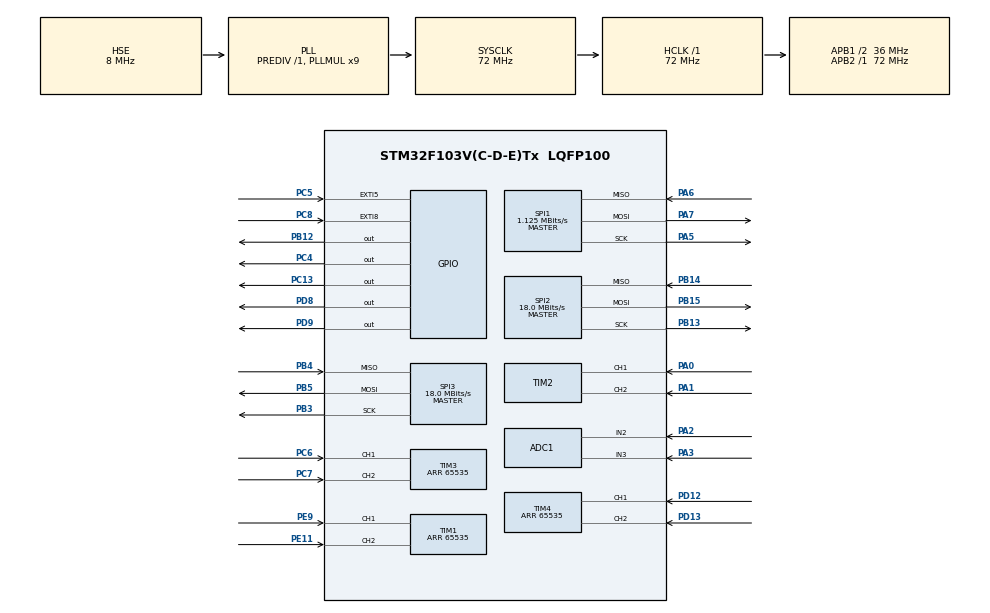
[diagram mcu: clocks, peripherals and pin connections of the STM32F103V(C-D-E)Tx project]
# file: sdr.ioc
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ADC1.Channel-0\#ChannelRegularConversion=ADC_CHANNEL_2
ADC1.NbrOfConversionFlag=1
ADC1.Rank-0\#ChannelRegularConversion=1
ADC1.SamplingTime-0\#ChannelRegularConversion=ADC_SAMPLETIME_1CYCLE_5
ADC1.master=1
Mcu.Family=STM32F1
Mcu.Name=STM32F103V(C-D-E)Tx
Mcu.Package=LQFP100
NVIC.EXTI9_5_IRQn=true\:0\:0\:false\:false\:true\:true
NVIC.PriorityGroup=NVIC_PRIORITYGROUP_4
NVIC.TIM4_IRQn=true\:0\:0\:false\:false\:true\:true
OSC_IN.Mode=HSE-External-Oscillator
OSC_IN.Signal=RCC_OSC_IN
OSC_OUT.Mode=HSE-External-Oscillator
OSC_OUT.Signal=RCC_OSC_OUT
PA0-WKUP.Signal=S_TIM2_CH1_ETR
PA1.Signal=S_TIM2_CH2
PA2.Signal=ADCx_IN2
PA3.Signal=ADCx_IN3
PA5.Mode=Full_Duplex_Master
PA5.Signal=SPI1_SCK
PA6.Mode=Full_Duplex_Master
PA6.Signal=SPI1_MISO
PA7.Mode=Full_Duplex_Master
PA7.Signal=SPI1_MOSI
PB12.Signal=GPIO_Output
PB13.Mode=Full_Duplex_Master
PB13.Signal=SPI2_SCK
PB14.Mode=Full_Duplex_Master
PB14.Signal=SPI2_MISO
PB15.Mode=Full_Duplex_Master
PB15.Signal=SPI2_MOSI
PB3.Mode=Full_Duplex_Master
PB3.Signal=SPI3_SCK
PB4.Mode=Full_Duplex_Master
PB4.Signal=SPI3_MISO
PB5.Mode=Full_Duplex_Master
PB5.Signal=SPI3_MOSI
PC13-TAMPER-RTC.Signal=GPIO_Output
PC4.GPIO_Speed=GPIO_SPEED_FREQ_MEDIUM
PC4.PinState=GPIO_PIN_RESET
PC4.Signal=GPIO_Output
PC5.GPIO_ModeDefaultEXTI=GPIO_MODE_IT_RISING_FALLING
PC5.GPIO_PuPd=GPIO_PULLDOWN
PC5.Signal=GPXTI5
PC6.GPIO_PuPd=GPIO_PULLUP
PC6.Signal=S_TIM3_CH1
PC7.GPIO_PuPd=GPIO_PULLUP
PC7.Signal=S_TIM3_CH2
PC8.GPIO_PuPd=GPIO_PULLDOWN
PC8.Signal=GPXTI8
PD12.GPIO_Mode=GPIO_MODE_INPUT
PD12.GPIO_PuPd=GPIO_PULLUP
PD12.Signal=S_TIM4_CH1
PD13.GPIO_Mode=GPIO_MODE_INPUT
PD13.GPIO_PuPd=GPIO_PULLUP
PD13.Signal=S_TIM4_CH2
PD8.Signal=GPIO_Output
PD9.Signal=GPIO_Output
PE11.GPIO_PuPd=GPIO_PULLUP
PE11.Signal=S_TIM1_CH2
PE9.GPIO_PuPd=GPIO_PULLUP
PE9.Signal=S_TIM1_CH1
ProjectManager.HeapSize=0x200
ProjectManager.StackSize=0x400
ProjectManager.TargetToolchain=SW4STM32
RCC.ADCPresc=RCC_ADCPCLK2_DIV6
RCC.AHBFreq_Value=72000000
RCC.APB1CLKDivider=RCC_HCLK_DIV2
RCC.APB1Freq_Value=36000000
RCC.APB1TimFreq_Value=72000000
RCC.APB2Freq_Value=72000000
RCC.APB2TimFreq_Value=72000000
RCC.EnbaleCSS=true
RCC.HCLKFreq_Value=72000000
RCC.PLLMUL=RCC_PLL_MUL9
RCC.PLLSourceVirtual=RCC_PLLSOURCE_HSE
RCC.SYSCLKFreq_VALUE=72000000
RCC.SYSCLKSource=RCC_SYSCLKSOURCE_PLLCLK
RCC.USBFreq_Value=48000000
RCC.USBPrescaler=RCC_USBCLKSOURCE_PLL_DIV1_5
SH.ADCx_IN2.0=ADC1_IN2,IN2
SH.ADCx_IN3.0=ADC1_IN3,IN3
SH.S_TIM1_CH1.0=TIM1_CH1,Encoder_Interface
SH.S_TIM1_CH2.0=TIM1_CH2,Encoder_Interface
SH.S_TIM2_CH1_ETR.0=TIM2_CH1,Encoder_Interface
SH.S_TIM2_CH2.0=TIM2_CH2,Encoder_Interface
SH.S_TIM3_CH1.0=TIM3_CH1,Encoder_Interface
SH.S_TIM3_CH2.0=TIM3_CH2,Encoder_Interface
SH.S_TIM4_CH1.0=TIM4_CH1,Encoder_Interface
SH.S_TIM4_CH2.0=TIM4_CH2,Encoder_Interface
SPI1.BaudRatePrescaler=SPI_BAUDRATEPRESCALER_64
SPI1.CalculateBaudRate=1.125 MBits/s
SPI1.Direction=SPI_DIRECTION_2LINES
SPI1.Mode=SPI_MODE_MASTER
SPI1.VirtualType=VM_MASTER
SPI2.BaudRatePrescaler=SPI_BAUDRATEPRESCALER_2
SPI2.CalculateBaudRate=18.0 MBits/s
SPI2.Direction=SPI_DIRECTION_2LINES
SPI2.Mode=SPI_MODE_MASTER
SPI2.VirtualType=VM_MASTER
SPI3.CalculateBaudRate=18.0 MBits/s
SPI3.Direction=SPI_DIRECTION_2LINES
SPI3.Mode=SPI_MODE_MASTER
SPI3.VirtualType=VM_MASTER
TIM1.EncoderMode=TIM_ENCODERMODE_TI2
TIM1.Period=65535
TIM3.EncoderMode=TIM_ENCODERMODE_TI2
TIM3.Period=65535
TIM4.EncoderMode=TIM_ENCODERMODE_TI12
TIM4.Period=65535
VP_SYS_VS_ND.Mode=No_Debug
board=custom

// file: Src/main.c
/**
  ******************************************************************************
  * @file           : main.c
  * @brief          : Main program body
  ******************************************************************************
  ** This notice applies to any and all portions of this file
  * that are not between comment pairs USER CODE BEGIN and
  * USER CODE END. Other portions of this file, whether
  * inserted by the user or by software development tools
  * are owned by their respective copyright owners.
  *
  * COPYRIGHT(c) 2019 STMicroelectronics
  *
  * Redistribution and use in source and binary forms, with or without modification,
  * are permitted provided that the following conditions are met:
  *   1. Redistributions of source code must retain the above copyright notice,
  *      this list of conditions and the following disclaimer.
  *   2. Redistributions in binary form must reproduce the above copyright notice,
  *      this list of conditions and the following disclaimer in the documentation
  *      and/or other materials provided with the distribution.
  *   3. Neither the name of STMicroelectronics nor the names of its contributors
  *      may be used to endorse or promote products derived from this software
  *      without specific prior written permission.
  *
  * THIS SOFTWARE IS PROVIDED BY THE COPYRIGHT HOLDERS AND CONTRIBUTORS "AS IS"
  * AND ANY EXPRESS OR IMPLIED WARRANTIES, INCLUDING, BUT NOT LIMITED TO, THE
  * IMPLIED WARRANTIES OF MERCHANTABILITY AND FITNESS FOR A PARTICULAR PURPOSE ARE
  * DISCLAIMED. IN NO EVENT SHALL THE COPYRIGHT HOLDER OR CONTRIBUTORS BE LIABLE
  * FOR ANY DIRECT, INDIRECT, INCIDENTAL, SPECIAL, EXEMPLARY, OR CONSEQUENTIAL
  * DAMAGES (INCLUDING, BUT NOT LIMITED TO, PROCUREMENT OF SUBSTITUTE GOODS OR
  * SERVICES; LOSS OF USE, DATA, OR PROFITS; OR BUSINESS INTERRUPTION) HOWEVER
  * CAUSED AND ON ANY THEORY OF LIABILITY, WHETHER IN CONTRACT, STRICT LIABILITY,
  * OR TORT (INCLUDING NEGLIGENCE OR OTHERWISE) ARISING IN ANY WAY OUT OF THE USE
  * OF THIS SOFTWARE, EVEN IF ADVISED OF THE POSSIBILITY OF SUCH DAMAGE.
  *
  ******************************************************************************
  */
#include "main.h"
#include "stm32f1xx_hal.h"

/* USER CODE BEGIN Includes */
#include <string.h>
#include <stdarg.h>
#include <testimg.h>
#include "font.h"
#include "lcd-tft.h"
#include "touchscreen.h"
#include "ui.h"
/* USER CODE END Includes */

ADC_HandleTypeDef hadc1;

SPI_HandleTypeDef hspi1;
SPI_HandleTypeDef hspi2;
SPI_HandleTypeDef hspi3;

TIM_HandleTypeDef htim1;
TIM_HandleTypeDef htim2;
TIM_HandleTypeDef htim3;
TIM_HandleTypeDef htim4;

/* USER CODE BEGIN PV */
/* Private variables ---------------------------------------------------------*/
volatile int bt=0;
volatile uint32_t touchX;
volatile uint32_t touchY;
char menu_bt;
int last_menu_bt=0;
/* USER CODE END PV */

void SystemClock_Config(void);
static void MX_GPIO_Init(void);
static void MX_TIM4_Init(void);
static void MX_SPI1_Init(void);
static void MX_SPI2_Init(void);
static void MX_TIM3_Init(void);
static void MX_SPI3_Init(void);
static void MX_TIM1_Init(void);
static void MX_TIM2_Init(void);
static void MX_ADC1_Init(void);

/* USER CODE BEGIN PFP */
/* Private function prototypes -----------------------------------------------*/

/* USER CODE END PFP */

/* USER CODE BEGIN 0 */
void ILI9341_ALL_Init() {
     ILI9341_Unselect();
     ILI9341_Init();
     ILI9341_TouchSelect();
     ILI9341_TouchInit();
     ILI9341_TouchUnselect();
 }
void loop() {

    // Check border
    ILI9341_FillScreen(ILI9341_BLACK);

    for(int x = 0; x < ILI9341_WIDTH; x++) {
        ILI9341_DrawPixel(x, 0, ILI9341_RED);
        ILI9341_DrawPixel(x, ILI9341_HEIGHT-1, ILI9341_RED);
    }

    for(int y = 0; y < ILI9341_HEIGHT; y++) {
        ILI9341_DrawPixel(0, y, ILI9341_RED);
        ILI9341_DrawPixel(ILI9341_WIDTH-1, y, ILI9341_RED);
    }

    HAL_Delay(500);

    // Check fonts
    ILI9341_FillScreen(ILI9341_BLACK);
    ILI9341_WriteString(0, 0, "Font_7x10, KISYA hello how are you?", Font_7x10, ILI9341_RED, ILI9341_BLACK);
    ILI9341_WriteString(0, 3*10, "Font_11x18, KISYA hello how are you?", Font_11x18, ILI9341_GREEN, ILI9341_BLACK);
    ILI9341_WriteString(0, 3*10+3*18, "Font_16x26,KISYA hello how are you?", Font_16x26, ILI9341_BLUE, ILI9341_BLACK);

    HAL_Delay(100);
    ILI9341_InvertColors(true);
    HAL_Delay(100);
    ILI9341_InvertColors(false);

    HAL_Delay(100);

    // Check colors
    ILI9341_FillScreen(ILI9341_WHITE);
    ILI9341_WriteString(0, 0, "WHITE", Font_11x18, ILI9341_BLACK, ILI9341_WHITE);
    HAL_Delay(100);

    ILI9341_FillScreen(ILI9341_BLUE);
    ILI9341_WriteString(0, 0, "BLUE", Font_11x18, ILI9341_BLACK, ILI9341_BLUE);
    HAL_Delay(100);

    ILI9341_FillScreen(ILI9341_RED);
    ILI9341_WriteString(0, 0, "RED", Font_11x18, ILI9341_BLACK, ILI9341_RED);
    HAL_Delay(100);

    ILI9341_FillScreen(ILI9341_GREEN);
    ILI9341_WriteString(0, 0, "GREEN", Font_11x18, ILI9341_BLACK, ILI9341_GREEN);
    HAL_Delay(100);

    ILI9341_FillScreen(ILI9341_CYAN);
    ILI9341_WriteString(0, 0, "CYAN", Font_11x18, ILI9341_BLACK, ILI9341_CYAN);
    HAL_Delay(100);

    ILI9341_FillScreen(ILI9341_MAGENTA);
    ILI9341_WriteString(0, 0, "MAGENTA", Font_11x18, ILI9341_BLACK, ILI9341_MAGENTA);
    HAL_Delay(100);

    ILI9341_FillScreen(ILI9341_YELLOW);
    ILI9341_WriteString(0, 0, "YELLOW", Font_11x18, ILI9341_BLACK, ILI9341_YELLOW);
    HAL_Delay(100);

    ILI9341_FillScreen(ILI9341_BLACK);
    ILI9341_WriteString(0, 0, "BLACK", Font_11x18, ILI9341_WHITE, ILI9341_BLACK);
    HAL_Delay(100);

    ILI9341_DrawImage((ILI9341_WIDTH - 240) / 2, (ILI9341_HEIGHT - 240) / 2, 240, 240, (const uint16_t*) test_img0_240x240);

    HAL_Delay(1000);

    ILI9341_FillScreen(ILI9341_BLACK);
    ILI9341_WriteString(0, 0, "Touchpad test.  Draw something!", Font_11x18, ILI9341_WHITE, ILI9341_BLACK);
    HAL_Delay(1000);
    ILI9341_FillScreen(ILI9341_BLACK);

}
/* USER CODE END 0 */

int main(void)
{

  /* MCU Configuration----------------------------------------------------------*/

  /* Reset of all peripherals, Initializes the Flash interface and the Systick. */
  HAL_Init();

  /* USER CODE BEGIN Init */

	//ILI9341_TouchUnselect();
  /* USER CODE END Init */

  /* Configure the system clock */
  SystemClock_Config();

  /* Initialize all configured peripherals */
  MX_GPIO_Init();
  MX_TIM4_Init();
  MX_SPI1_Init();
  MX_SPI2_Init();
  MX_TIM3_Init();
  MX_SPI3_Init();
  MX_TIM1_Init();
  MX_TIM2_Init();
  MX_ADC1_Init();
  /* USER CODE BEGIN 2 */
  ILI9341_ALL_Init();

  /* USER CODE END 2 */

  /* Infinite loop */
  /* USER CODE BEGIN WHILE */
  HAL_TIM_Encoder_Start(&htim4, TIM_CHANNEL_ALL);
  HAL_TIM_Encoder_Start(&htim1, TIM_CHANNEL_ALL);
  uint8_t mod[]="LSB";
  double bwt=3.0;
  double swr=1.3;
  uint8_t snr=9;
  uint8_t power=45;
  uint8_t band=0;
  uint8_t frame=0;
  uint8_t lastframe=0;
  int last_bt=0;
  uint8_t volume=5;
  uint8_t lastvolume=0;
  uint8_t bandselector=0;
  bool bandrfq=1;
  double freq;
  uint8_t touchdebug[100];
  uint8_t enc1debug[100];
  uint8_t btdebug[50];
  uint8_t touchcord=0;
  enum states
  {
      initial = 0,
      state_1,
      state_final
  };

  enum signals
  {
      sign0,
      sign1,
      sign_N
  };
  enum states FSM_table[3][3] = {
      [initial][sign0] = state_1,
      [initial][sign1] = initial,
      [initial][sign_N] = state_1,
      [state_1][sign0] = initial,
      [state_1][sign1] = state_1,
      [state_1][sign_N] = state_final,
      [state_final][sign0] = initial,
      [state_final][sign1] = initial,
      [state_final][sign_N] = initial
  };
  int32_t capture=0, capture_prev=0, encoder=0;
  int32_t capture1=0, capture_prev1=0, encoder1=0;
  ILI9341_FillScreen(ILI9341_BLACK);
  while (1)
  {
  capture = TIM4->CNT;
  encoder += capture - capture_prev;
  if (abs(capture-capture_prev)>32767) {
	  encoder += (capture<capture_prev ? 65535 : -65535);
  }
  capture1 = TIM1->CNT;
    encoder1 += capture1 - capture_prev1;
    if (abs(capture1-capture_prev1)>32767) {
  	  encoder1 += (capture1<capture_prev1 ? 65535 : -65535);
  	  encoder1 = (encoder1-1);
    }
    HAL_GPIO_TogglePin(GPIOC, GPIO_PIN_13);
  //}
  /* USER CODE END WHILE */

  /* USER CODE BEGIN 3 */
   capture_prev = capture;
   capture_prev1 = capture1;
   freq=(encoder*(400.0/ 65535))*10;
   freq=(1000.0+freq)/10000.0;
   if (bandrfq==true){

   if ((freq >= 14.000 || freq <= 14.350) && freq >= 7.200){
   	       band=20;
   	       freq=freq+13.0;
   }
   if((freq >= 7.000 || freq <= 7.200)&& freq >= 3.800){
   		   band=40;
   		   freq=freq+7.0;
   }
   if(freq >= 3.500 || freq <= 3.800){
   		   band=80;
   		   freq=freq+3.5;

   }}
   if (bandrfq==false){

      if (freq >= 14.000 && freq <= 14.350){
      	       band=20;
      	       freq=freq+13.0;
      }
      if(freq >= 7.000 && freq <= 7.200){
      		   band=40;
      		   freq=freq+7.0;
      }
      if(freq >= 3.500 && freq <= 3.800){
      		   band=80;
      		   freq=freq+3.5;

      }}

   switch(bt){
   case 0:
	   bandselector=encoder1/2;
	   if (bandselector ==1){
		  band=160;
	   }
	   if (bandselector ==2){
	   	  band=80;
	   }
	   if (bandselector ==3){
	   	  band=40;
	   }
	   if (bandselector ==4){
	   	  band=30;
	   }
	   if (bandselector ==5){
	   	  band=20;
	   }
	   if (bandselector ==6){
	   	   	  band=11;
	   }
	   if (bandselector > 6){
		   bandselector=6;
	   	  encoder1=12;
	   }
	   if (bandselector < 0){
		   bandselector=0;
	   	   encoder1=2;
	   }
	   break;

   case 1:
       frame=encoder1/2;
       if (frame == 0){
    	   uint8_t type[]="LSB";
    	   memcpy(mod,type,strlen(type));
       	   }
       if (frame == 1){
    	   uint8_t type[]="USB";
    	   memcpy(mod,type,strlen(type));
           }
       if (frame == 2){
    	   uint8_t type[]="A/M";
    	   memcpy(mod,type,strlen(type));
           }
       if (frame == 3){
    	   uint8_t type[]="F/M";
    	   memcpy(mod,type,3);
           }
       if (frame > 3){
    	   frame=3;
       	   encoder1=6;
       	   }
       if (frame < 0){
       	   frame=0;
       	   encoder1=2;
       	   }
       	   break;
   case 2:
	   volume=encoder1/2;
       if (volume >= 9){
	   volume=9;
	   encoder1=18;
       }
       if (volume <= 0){
	   volume=0;
	   encoder1=2;
      }
       lastvolume=encoder1;
       break;
   }

   switch(touchcord){
   case 0:
     UI_MAIN_SCREEN(band,mod,volume,freq,swr,snr,power);
     UI_DEBUG(touchX, touchY,encoder1/2 , bt, 0, 0,0,0 );
     break;
   case 1:
	   UI_MENU_SCREEN(0,0,0,0);
	   break;
   case 2:
	 UI_MODULATION_SCREEN(0,0,0,0);
	 break;
   case 3:
	 UI_BAND_SCREEN(0,0,0,0);
	 break;
   }
   if (bt > 3){
	   bt=0;
   }
   if (bt != last_bt){
	   last_bt=bt;
	   //ILI9341_FillScreen(ILI9341_BLACK);
   }

  }
  /* USER CODE END 3 */

}

void SystemClock_Config(void)
{

  RCC_OscInitTypeDef RCC_OscInitStruct;
  RCC_ClkInitTypeDef RCC_ClkInitStruct;
  RCC_PeriphCLKInitTypeDef PeriphClkInit;

    /**Initializes the CPU, AHB and APB busses clocks
    */
  RCC_OscInitStruct.OscillatorType = RCC_OSCILLATORTYPE_HSE;
  RCC_OscInitStruct.HSEState = RCC_HSE_ON;
  RCC_OscInitStruct.HSEPredivValue = RCC_HSE_PREDIV_DIV1;
  RCC_OscInitStruct.HSIState = RCC_HSI_ON;
  RCC_OscInitStruct.PLL.PLLState = RCC_PLL_ON;
  RCC_OscInitStruct.PLL.PLLSource = RCC_PLLSOURCE_HSE;
  RCC_OscInitStruct.PLL.PLLMUL = RCC_PLL_MUL9;
  if (HAL_RCC_OscConfig(&RCC_OscInitStruct) != HAL_OK)
  {
    _Error_Handler(__FILE__, __LINE__);
  }

    /**Initializes the CPU, AHB and APB busses clocks
    */
  RCC_ClkInitStruct.ClockType = RCC_CLOCKTYPE_HCLK|RCC_CLOCKTYPE_SYSCLK
                              |RCC_CLOCKTYPE_PCLK1|RCC_CLOCKTYPE_PCLK2;
  RCC_ClkInitStruct.SYSCLKSource = RCC_SYSCLKSOURCE_PLLCLK;
  RCC_ClkInitStruct.AHBCLKDivider = RCC_SYSCLK_DIV1;
  RCC_ClkInitStruct.APB1CLKDivider = RCC_HCLK_DIV2;
  RCC_ClkInitStruct.APB2CLKDivider = RCC_HCLK_DIV1;

  if (HAL_RCC_ClockConfig(&RCC_ClkInitStruct, FLASH_LATENCY_2) != HAL_OK)
  {
    _Error_Handler(__FILE__, __LINE__);
  }

  PeriphClkInit.PeriphClockSelection = RCC_PERIPHCLK_ADC;
  PeriphClkInit.AdcClockSelection = RCC_ADCPCLK2_DIV6;
  if (HAL_RCCEx_PeriphCLKConfig(&PeriphClkInit) != HAL_OK)
  {
    _Error_Handler(__FILE__, __LINE__);
  }

    /**Enables the Clock Security System
    */
  HAL_RCC_EnableCSS();

    /**Configure the Systick interrupt time
    */
  HAL_SYSTICK_Config(HAL_RCC_GetHCLKFreq()/1000);

    /**Configure the Systick
    */
  HAL_SYSTICK_CLKSourceConfig(SYSTICK_CLKSOURCE_HCLK);

  /* SysTick_IRQn interrupt configuration */
  HAL_NVIC_SetPriority(SysTick_IRQn, 0, 0);
}

/* ADC1 init function */
static void MX_ADC1_Init(void)
{

  ADC_ChannelConfTypeDef sConfig;

    /**Common config
    */
  hadc1.Instance = ADC1;
  hadc1.Init.ScanConvMode = ADC_SCAN_DISABLE;
  hadc1.Init.ContinuousConvMode = DISABLE;
  hadc1.Init.DiscontinuousConvMode = DISABLE;
  hadc1.Init.ExternalTrigConv = ADC_SOFTWARE_START;
  hadc1.Init.DataAlign = ADC_DATAALIGN_RIGHT;
  hadc1.Init.NbrOfConversion = 1;
  if (HAL_ADC_Init(&hadc1) != HAL_OK)
  {
    _Error_Handler(__FILE__, __LINE__);
  }

    /**Configure Regular Channel
    */
  sConfig.Channel = ADC_CHANNEL_2;
  sConfig.Rank = ADC_REGULAR_RANK_1;
  sConfig.SamplingTime = ADC_SAMPLETIME_1CYCLE_5;
  if (HAL_ADC_ConfigChannel(&hadc1, &sConfig) != HAL_OK)
  {
    _Error_Handler(__FILE__, __LINE__);
  }

}

/* SPI1 init function */
static void MX_SPI1_Init(void)
{

  /* SPI1 parameter configuration*/
  hspi1.Instance = SPI1;
  hspi1.Init.Mode = SPI_MODE_MASTER;
  hspi1.Init.Direction = SPI_DIRECTION_2LINES;
  hspi1.Init.DataSize = SPI_DATASIZE_8BIT;
  hspi1.Init.CLKPolarity = SPI_POLARITY_LOW;
  hspi1.Init.CLKPhase = SPI_PHASE_1EDGE;
  hspi1.Init.NSS = SPI_NSS_SOFT;
  hspi1.Init.BaudRatePrescaler = SPI_BAUDRATEPRESCALER_64;
  hspi1.Init.FirstBit = SPI_FIRSTBIT_MSB;
  hspi1.Init.TIMode = SPI_TIMODE_DISABLE;
  hspi1.Init.CRCCalculation = SPI_CRCCALCULATION_DISABLE;
  hspi1.Init.CRCPolynomial = 10;
  if (HAL_SPI_Init(&hspi1) != HAL_OK)
  {
    _Error_Handler(__FILE__, __LINE__);
  }

}

/* SPI2 init function */
static void MX_SPI2_Init(void)
{

  /* SPI2 parameter configuration*/
  hspi2.Instance = SPI2;
  hspi2.Init.Mode = SPI_MODE_MASTER;
  hspi2.Init.Direction = SPI_DIRECTION_2LINES;
  hspi2.Init.DataSize = SPI_DATASIZE_8BIT;
  hspi2.Init.CLKPolarity = SPI_POLARITY_LOW;
  hspi2.Init.CLKPhase = SPI_PHASE_1EDGE;
  hspi2.Init.NSS = SPI_NSS_SOFT;
  hspi2.Init.BaudRatePrescaler = SPI_BAUDRATEPRESCALER_2;
  hspi2.Init.FirstBit = SPI_FIRSTBIT_MSB;
  hspi2.Init.TIMode = SPI_TIMODE_DISABLE;
  hspi2.Init.CRCCalculation = SPI_CRCCALCULATION_DISABLE;
  hspi2.Init.CRCPolynomial = 10;
  if (HAL_SPI_Init(&hspi2) != HAL_OK)
  {
    _Error_Handler(__FILE__, __LINE__);
  }

}

/* SPI3 init function */
static void MX_SPI3_Init(void)
{

  /* SPI3 parameter configuration*/
  hspi3.Instance = SPI3;
  hspi3.Init.Mode = SPI_MODE_MASTER;
  hspi3.Init.Direction = SPI_DIRECTION_2LINES;
  hspi3.Init.DataSize = SPI_DATASIZE_8BIT;
  hspi3.Init.CLKPolarity = SPI_POLARITY_LOW;
  hspi3.Init.CLKPhase = SPI_PHASE_1EDGE;
  hspi3.Init.NSS = SPI_NSS_SOFT;
  hspi3.Init.BaudRatePrescaler = SPI_BAUDRATEPRESCALER_2;
  hspi3.Init.FirstBit = SPI_FIRSTBIT_MSB;
  hspi3.Init.TIMode = SPI_TIMODE_DISABLE;
  hspi3.Init.CRCCalculation = SPI_CRCCALCULATION_DISABLE;
  hspi3.Init.CRCPolynomial = 10;
  if (HAL_SPI_Init(&hspi3) != HAL_OK)
  {
    _Error_Handler(__FILE__, __LINE__);
  }

}

/* TIM1 init function */
static void MX_TIM1_Init(void)
{

  TIM_Encoder_InitTypeDef sConfig;
  TIM_MasterConfigTypeDef sMasterConfig;

  htim1.Instance = TIM1;
  htim1.Init.Prescaler = 0;
  htim1.Init.CounterMode = TIM_COUNTERMODE_UP;
  htim1.Init.Period = 65535;
  htim1.Init.ClockDivision = TIM_CLOCKDIVISION_DIV1;
  htim1.Init.RepetitionCounter = 0;
  htim1.Init.AutoReloadPreload = TIM_AUTORELOAD_PRELOAD_DISABLE;
  sConfig.EncoderMode = TIM_ENCODERMODE_TI2;
  sConfig.IC1Polarity = TIM_ICPOLARITY_RISING;
  sConfig.IC1Selection = TIM_ICSELECTION_DIRECTTI;
  sConfig.IC1Prescaler = TIM_ICPSC_DIV1;
  sConfig.IC1Filter = 0;
  sConfig.IC2Polarity = TIM_ICPOLARITY_RISING;
  sConfig.IC2Selection = TIM_ICSELECTION_DIRECTTI;
  sConfig.IC2Prescaler = TIM_ICPSC_DIV1;
  sConfig.IC2Filter = 0;
  if (HAL_TIM_Encoder_Init(&htim1, &sConfig) != HAL_OK)
  {
    _Error_Handler(__FILE__, __LINE__);
  }

  sMasterConfig.MasterOutputTrigger = TIM_TRGO_RESET;
  sMasterConfig.MasterSlaveMode = TIM_MASTERSLAVEMODE_DISABLE;
  if (HAL_TIMEx_MasterConfigSynchronization(&htim1, &sMasterConfig) != HAL_OK)
  {
    _Error_Handler(__FILE__, __LINE__);
  }

}

/* TIM2 init function */
static void MX_TIM2_Init(void)
{

  TIM_Encoder_InitTypeDef sConfig;
  TIM_MasterConfigTypeDef sMasterConfig;

  htim2.Instance = TIM2;
  htim2.Init.Prescaler = 0;
  htim2.Init.CounterMode = TIM_COUNTERMODE_UP;
  htim2.Init.Period = 0;
  htim2.Init.ClockDivision = TIM_CLOCKDIVISION_DIV1;
  htim2.Init.AutoReloadPreload = TIM_AUTORELOAD_PRELOAD_DISABLE;
  sConfig.EncoderMode = TIM_ENCODERMODE_TI1;
  sConfig.IC1Polarity = TIM_ICPOLARITY_RISING;
  sConfig.IC1Selection = TIM_ICSELECTION_DIRECTTI;
  sConfig.IC1Prescaler = TIM_ICPSC_DIV1;
  sConfig.IC1Filter = 0;
  sConfig.IC2Polarity = TIM_ICPOLARITY_RISING;
  sConfig.IC2Selection = TIM_ICSELECTION_DIRECTTI;
  sConfig.IC2Prescaler = TIM_ICPSC_DIV1;
  sConfig.IC2Filter = 0;
  if (HAL_TIM_Encoder_Init(&htim2, &sConfig) != HAL_OK)
  {
    _Error_Handler(__FILE__, __LINE__);
  }

  sMasterConfig.MasterOutputTrigger = TIM_TRGO_RESET;
  sMasterConfig.MasterSlaveMode = TIM_MASTERSLAVEMODE_DISABLE;
  if (HAL_TIMEx_MasterConfigSynchronization(&htim2, &sMasterConfig) != HAL_OK)
  {
    _Error_Handler(__FILE__, __LINE__);
  }

}

/* TIM3 init function */
static void MX_TIM3_Init(void)
{

  TIM_Encoder_InitTypeDef sConfig;
  TIM_MasterConfigTypeDef sMasterConfig;

  htim3.Instance = TIM3;
  htim3.Init.Prescaler = 0;
  htim3.Init.CounterMode = TIM_COUNTERMODE_UP;
  htim3.Init.Period = 65535;
  htim3.Init.ClockDivision = TIM_CLOCKDIVISION_DIV1;
  htim3.Init.AutoReloadPreload = TIM_AUTORELOAD_PRELOAD_DISABLE;
  sConfig.EncoderMode = TIM_ENCODERMODE_TI2;
  sConfig.IC1Polarity = TIM_ICPOLARITY_RISING;
  sConfig.IC1Selection = TIM_ICSELECTION_DIRECTTI;
  sConfig.IC1Prescaler = TIM_ICPSC_DIV1;
  sConfig.IC1Filter = 0;
  sConfig.IC2Polarity = TIM_ICPOLARITY_RISING;
  sConfig.IC2Selection = TIM_ICSELECTION_DIRECTTI;
  sConfig.IC2Prescaler = TIM_ICPSC_DIV1;
  sConfig.IC2Filter = 0;
  if (HAL_TIM_Encoder_Init(&htim3, &sConfig) != HAL_OK)
  {
    _Error_Handler(__FILE__, __LINE__);
  }

  sMasterConfig.MasterOutputTrigger = TIM_TRGO_RESET;
  sMasterConfig.MasterSlaveMode = TIM_MASTERSLAVEMODE_DISABLE;
  if (HAL_TIMEx_MasterConfigSynchronization(&htim3, &sMasterConfig) != HAL_OK)
  {
    _Error_Handler(__FILE__, __LINE__);
  }

}

/* TIM4 init function */
static void MX_TIM4_Init(void)
{

  TIM_Encoder_InitTypeDef sConfig;
  TIM_MasterConfigTypeDef sMasterConfig;

  htim4.Instance = TIM4;
  htim4.Init.Prescaler = 0;
  htim4.Init.CounterMode = TIM_COUNTERMODE_UP;
  htim4.Init.Period = 65535;
  htim4.Init.ClockDivision = TIM_CLOCKDIVISION_DIV1;
  htim4.Init.AutoReloadPreload = TIM_AUTORELOAD_PRELOAD_DISABLE;
  sConfig.EncoderMode = TIM_ENCODERMODE_TI12;
  sConfig.IC1Polarity = TIM_ICPOLARITY_RISING;
  sConfig.IC1Selection = TIM_ICSELECTION_DIRECTTI;
  sConfig.IC1Prescaler = TIM_ICPSC_DIV1;
  sConfig.IC1Filter = 0;
  sConfig.IC2Polarity = TIM_ICPOLARITY_RISING;
  sConfig.IC2Selection = TIM_ICSELECTION_DIRECTTI;
  sConfig.IC2Prescaler = TIM_ICPSC_DIV1;
  sConfig.IC2Filter = 0;
  if (HAL_TIM_Encoder_Init(&htim4, &sConfig) != HAL_OK)
  {
    _Error_Handler(__FILE__, __LINE__);
  }

  sMasterConfig.MasterOutputTrigger = TIM_TRGO_RESET;
  sMasterConfig.MasterSlaveMode = TIM_MASTERSLAVEMODE_DISABLE;
  if (HAL_TIMEx_MasterConfigSynchronization(&htim4, &sMasterConfig) != HAL_OK)
  {
    _Error_Handler(__FILE__, __LINE__);
  }

}

/** Configure pins as
        * Analog
        * Input
        * Output
        * EVENT_OUT
        * EXTI
*/
static void MX_GPIO_Init(void)
{

  GPIO_InitTypeDef GPIO_InitStruct;

  /* GPIO Ports Clock Enable */
  __HAL_RCC_GPIOC_CLK_ENABLE();
  __HAL_RCC_GPIOA_CLK_ENABLE();
  __HAL_RCC_GPIOE_CLK_ENABLE();
  __HAL_RCC_GPIOB_CLK_ENABLE();
  __HAL_RCC_GPIOD_CLK_ENABLE();

  /*Configure GPIO pin Output Level */
  HAL_GPIO_WritePin(GPIOC, GPIO_PIN_13|GPIO_PIN_4, GPIO_PIN_RESET);

  /*Configure GPIO pin Output Level */
  HAL_GPIO_WritePin(GPIOB, GPIO_PIN_12, GPIO_PIN_RESET);

  /*Configure GPIO pin Output Level */
  HAL_GPIO_WritePin(GPIOD, GPIO_PIN_8|GPIO_PIN_9, GPIO_PIN_RESET);

  /*Configure GPIO pin : PC13 */
  GPIO_InitStruct.Pin = GPIO_PIN_13;
  GPIO_InitStruct.Mode = GPIO_MODE_OUTPUT_PP;
  GPIO_InitStruct.Pull = GPIO_NOPULL;
  GPIO_InitStruct.Speed = GPIO_SPEED_FREQ_LOW;
  HAL_GPIO_Init(GPIOC, &GPIO_InitStruct);

  /*Configure GPIO pin : PC4 */
  GPIO_InitStruct.Pin = GPIO_PIN_4;
  GPIO_InitStruct.Mode = GPIO_MODE_OUTPUT_PP;
  GPIO_InitStruct.Pull = GPIO_NOPULL;
  GPIO_InitStruct.Speed = GPIO_SPEED_FREQ_MEDIUM;
  HAL_GPIO_Init(GPIOC, &GPIO_InitStruct);

  /*Configure GPIO pin : PC5 */
  GPIO_InitStruct.Pin = GPIO_PIN_5;
  GPIO_InitStruct.Mode = GPIO_MODE_IT_RISING_FALLING;
  GPIO_InitStruct.Pull = GPIO_PULLDOWN;
  HAL_GPIO_Init(GPIOC, &GPIO_InitStruct);

  /*Configure GPIO pin : PB12 */
  GPIO_InitStruct.Pin = GPIO_PIN_12;
  GPIO_InitStruct.Mode = GPIO_MODE_OUTPUT_PP;
  GPIO_InitStruct.Pull = GPIO_NOPULL;
  GPIO_InitStruct.Speed = GPIO_SPEED_FREQ_LOW;
  HAL_GPIO_Init(GPIOB, &GPIO_InitStruct);

  /*Configure GPIO pins : PD8 PD9 */
  GPIO_InitStruct.Pin = GPIO_PIN_8|GPIO_PIN_9;
  GPIO_InitStruct.Mode = GPIO_MODE_OUTPUT_PP;
  GPIO_InitStruct.Pull = GPIO_NOPULL;
  GPIO_InitStruct.Speed = GPIO_SPEED_FREQ_LOW;
  HAL_GPIO_Init(GPIOD, &GPIO_InitStruct);

  /*Configure GPIO pin : PC8 */
  GPIO_InitStruct.Pin = GPIO_PIN_8;
  GPIO_InitStruct.Mode = GPIO_MODE_IT_RISING;
  GPIO_InitStruct.Pull = GPIO_PULLDOWN;
  HAL_GPIO_Init(GPIOC, &GPIO_InitStruct);

  /* EXTI interrupt init*/
  HAL_NVIC_SetPriority(EXTI9_5_IRQn, 0, 0);
  HAL_NVIC_EnableIRQ(EXTI9_5_IRQn);

}

void _Error_Handler(char *file, int line)
{
  while(1)
  {
  }
}

/************************ (C) COPYRIGHT STMicroelectronics *****END OF FILE****/
